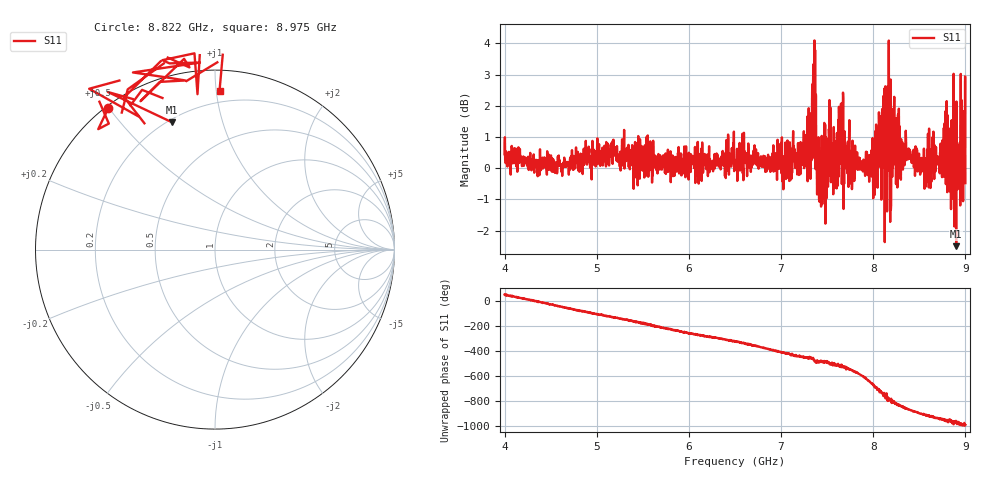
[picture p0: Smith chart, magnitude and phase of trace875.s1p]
! Created with skrf 1.8.0 (http://scikit-rf.org).
# Hz S RI R 50.0
!freq ReS11 ImS11
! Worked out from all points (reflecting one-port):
!   1601 points, 4 GHz to 9 GHz, reference 50 ohm
!   lowest |S11| = -2.5 dB at 8.9 GHz (marker M1), VSWR 6.99, Z = 10.7 + j34.7 ohm
!   phase of S11 starts at 53 deg and turns -1041 deg over the sweep
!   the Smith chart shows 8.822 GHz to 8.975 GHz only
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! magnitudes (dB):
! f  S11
! 4 GHz  0.4
! 4.625 GHz  -0.2
! 5.25 GHz  0.1
! 5.875 GHz  0.1
! 6.5 GHz  0.3
! 7.125 GHz  0.3
! 7.294 GHz  0.0
! 7.316 GHz  0.0
! 7.347 GHz  2.7
! 7.369 GHz  3.8
! 7.412 GHz  -1.0
! 7.438 GHz  -0.1
! 7.538 GHz  1.9
! 7.591 GHz  0.0
! 7.65 GHz  2.1
! 7.703 GHz  0.3
! 7.75 GHz  0.3
! 8.022 GHz  1.2
! 8.053 GHz  0.7
! 8.153 GHz  1.7
! 8.312 GHz  0.8
! 8.375 GHz  0.5
! 8.556 GHz  -0.7
! 8.788 GHz  -0.5
! 8.841 GHz  1.1
! 8.9 GHz  -2.5
! 8.972 GHz  0.7
! 9 GHz  -0.5
